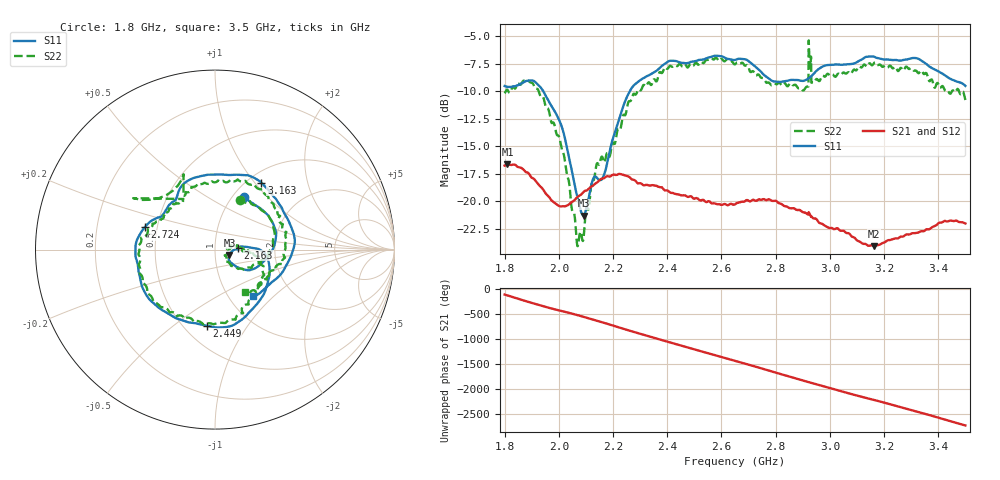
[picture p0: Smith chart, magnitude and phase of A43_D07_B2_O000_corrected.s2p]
! Created with skrf 1.9.0 (http://scikit-rf.org).
# Hz S RI R 50.0
!freq ReS11 ImS11 ReS21 ImS21 ReS12 ImS12 ReS22 ImS22
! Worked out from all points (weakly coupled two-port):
!   1601 points, 1.8 GHz to 3.5 GHz, reference 50 ohm
!   highest |S21| = -16.63 dB at 1.811 GHz (marker M1); lowest = -24.1 dB at 3.162 GHz (marker M2)
!   lowest |S11| = -21.3 dB at 2.092 GHz (marker M3), VSWR 1.19, Z = 58.7 - j3.55 ohm
!   |S11| at or under -10 dB: 1.943 GHz to 2.262 GHz (318.6 MHz wide, 15.2 % of centre)
!   |S22| runs from -24.1 to -5.4 dB; largest |S21 - S12| = 0.0027
!   S11 on the Smith chart (normalised r, x): 1.8 GHz: 1.13, +0.74; 2.163 GHz: 1.29, +0.03; 2.449 GHz: 0.64, -0.67; 2.724 GHz: 0.43, +0.13; 3.163 GHz: 1.15, +1.08; 3.5 GHz: 1.28, -0.75
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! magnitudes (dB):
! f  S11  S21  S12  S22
! 1.8 GHz  -9.5  -16.7  -16.7  -10.2
! 1.811 GHz  -9.6  -16.6  -16.6  -9.9
! 1.883 GHz  -9.0  -17.4  -17.4  -9.0
! 1.941 GHz  -9.9  -18.9  -18.9  -10.5
! 2.011 GHz  -13.2  -20.5  -20.4  -15.3
! 2.067 GHz  -19.4  -19.6  -19.6  -23.8
! 2.084 GHz  -21.0  -19.3  -19.3  -23.0
! 2.092 GHz  -21.3  -19.1  -19.2  -23.1
! 2.129 GHz  -17.8  -18.5  -18.5  -18.0
! 2.163 GHz  -17.8  -17.9  -17.8  -16.2
! 2.258 GHz  -10.2  -17.7  -17.7  -10.9
! 2.367 GHz  -8.0  -18.7  -18.6  -8.5
! 2.449 GHz  -7.4  -19.4  -19.4  -7.5
! 2.65 GHz  -7.1  -20.3  -20.2  -7.6
! 2.724 GHz  -7.7  -19.9  -19.9  -8.5
! 2.9 GHz  -9.1  -21.0  -21.0  -9.9
! 2.934 GHz  -8.6  -21.4  -21.4  -9.2
! 3.162 GHz  -6.8  -24.1  -24.0  -7.5
! 3.163 GHz  -6.9  -24.1  -24.0  -7.4
! 3.217 GHz  -7.1  -23.5  -23.5  -7.7
! 3.324 GHz  -7.0  -22.8  -22.8  -8.3
! 3.5 GHz  -9.5  -22.0  -22.0  -10.8
